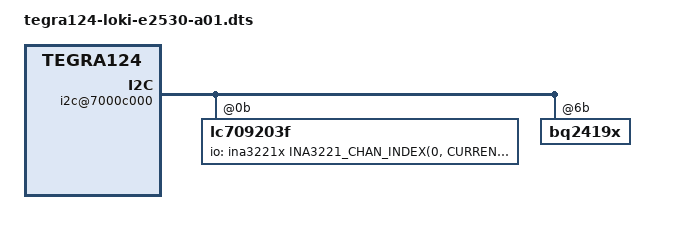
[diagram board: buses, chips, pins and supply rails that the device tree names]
#include "tegra124-loki.dts"
#include "tegra124-platforms/tegra124-loki-powermon-p2530-a01.dtsi"
#include <dt-bindings/iio/meter/ina3221x.h>

/ {
	i2c@7000c000 {
		lc709203f@0b {
			io-channels = <&ina3221x INA3221_CHAN_INDEX(0, CURRENT, NORMAL)>;
			io-channel-names = "battery-current";
		};

		bq2419x: bq2419x@6b {
			charger {
				ti,charge-status-gpio = <&gpio TEGRA_GPIO(H, 7) 0>;
			};
		};
	};
};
